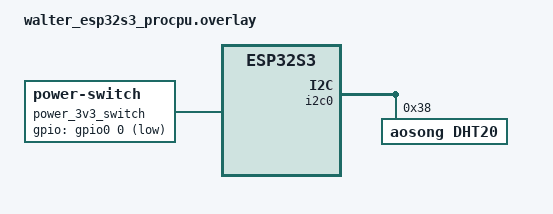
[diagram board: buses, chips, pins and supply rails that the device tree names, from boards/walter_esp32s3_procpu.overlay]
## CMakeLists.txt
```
# Copyright (c) 2024 DPTechnics bv
# SPDX-License-Identifier: Apache-2.0

cmake_minimum_required(VERSION 3.20.0)

list(APPEND BOARD_ROOT ${CMAKE_CURRENT_SOURCE_DIR})

find_package(Zephyr REQUIRED HINTS $ENV{ZEPHYR_BASE})

project(walter_golioth_demo)

target_sources(app PRIVATE src/main.c)
target_sources(app PRIVATE src/sensor_dht20.c)
```

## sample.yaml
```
# Copyright (c) 2024 DPTechnics bv
# SPDX-License-Identifier: Apache-2.0

sample:
  description: Walter Golioth Demo
  name: walter_golioth_demo
common:
  harness: net
  platform_allow:
    - walter/esp32s3/procpu
  tags: golioth
```

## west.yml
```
# Copyright (c) 2024 DPTechnics bv
# SPDX-License-Identifier: Apache-2.0

manifest:
  version: 0.8

  projects:
    - name: golioth
      path: modules/lib/golioth-firmware-sdk
      revision: v0.15.0 
      url: https://github.com/golioth/golioth-firmware-sdk.git
      west-commands: scripts/west-commands.yml
      submodules: true
      import:
        file: west-zephyr.yml
        path-prefix: deps
        name-allowlist:
          - zephyr
          - hal_espressif
          - mbedtls
          - zcbor
  
  self:
    path: app
```

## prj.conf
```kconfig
# Copyright (c) 2024 DPTechnics bv
# SPDX-License-Identifier: Apache-2.0

# Enable Golioth Firmware SDK
CONFIG_GOLIOTH_FIRMWARE_SDK=y

# Golioth services used in this app
CONFIG_GOLIOTH_LIGHTDB_STATE=y
CONFIG_GOLIOTH_STREAM=y
CONFIG_LOG_BACKEND_GOLIOTH=y

# Enable common sample library
CONFIG_GOLIOTH_SAMPLE_COMMON=y

# Hardcoded credentials for development
CONFIG_GOLIOTH_SAMPLE_HARDCODED_CREDENTIALS=y
CONFIG_GOLIOTH_SAMPLE_PSK_ID="PSK_ID"
CONFIG_GOLIOTH_SAMPLE_PSK="PSK"

# Configure Golioth SDK dependencies
CONFIG_ZVFS_EVENTFD_MAX=14
CONFIG_ZVFS_OPEN_MAX=16
CONFIG_LOG_PROCESS_THREAD_STACK_SIZE=1536
CONFIG_MBEDTLS_ENABLE_HEAP=y
CONFIG_MBEDTLS_HEAP_SIZE=10240
CONFIG_MBEDTLS_SSL_MAX_CONTENT_LEN=2048
CONFIG_NET_SOCKETS_DTLS_MAX_FRAGMENT_LENGTH=2048

# Application
CONFIG_MAIN_STACK_SIZE=2048
CONFIG_SYSTEM_WORKQUEUE_STACK_SIZE=2048
CONFIG_NET_LOG=y
CONFIG_NET_SHELL=y

# Misc.
CONFIG_GPIO=y
CONFIG_I2C=y
CONFIG_SENSOR=y
```

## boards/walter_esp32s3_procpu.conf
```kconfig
# Networking
CONFIG_NETWORKING=y
CONFIG_NET_NATIVE=y
CONFIG_NET_L2_PPP=y
CONFIG_NET_IPV4=y
CONFIG_NET_UDP=y
CONFIG_NET_SOCKETS=y
CONFIG_NET_CONTEXT_RCVTIMEO=y

# Modem driver
CONFIG_MODEM=y
CONFIG_MODEM_CELLULAR=y
CONFIG_MODEM_CELLULAR_CMUX_MAX_FRAME_SIZE=160
CONFIG_MODEM_CELLULAR_APN=""
```

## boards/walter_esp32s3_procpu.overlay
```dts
/*
 * Copyright (c) 2024 DPTechnics bv
 *
 * SPDX-License-Identifier: Apache-2.0
 */

/ {
	power_3v3_switch: power_3v3_switch {
		compatible = "power-switch";
		gpios = <&gpio0 0 GPIO_ACTIVE_LOW>;
	};
};

&i2c0 {
    status = "okay";
	dht20: dht20@38 {
		compatible = "aosong,dht20";
		reg = <0x38>;
	};
};
```

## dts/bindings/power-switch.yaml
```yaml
description: GPIO pin to switch a DC power output on or off

compatible: "power-switch"

properties:
  gpios:
    type: phandle-array
    required: true
    description: |
      The GPIO pin connected to the gate of the MOSFET.
```

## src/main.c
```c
/*
 * Copyright (c) 2024 DPTechnics bv
 *
 * SPDX-License-Identifier: Apache-2.0
 */

#include <zephyr/logging/log.h>
LOG_MODULE_REGISTER(walter_golioth_demo, LOG_LEVEL_DBG);

#include <golioth/client.h>
#include <golioth/stream.h>
#include <samples/common/net_connect.h>
#include <samples/common/sample_credentials.h>
#include <zcbor_encode.h>   
#include <zephyr/kernel.h>
#include <zephyr/drivers/gpio.h>
#include <zephyr/devicetree.h>

#include "sensor_dht20.h"

#define LOOP_DELAY_S 5

struct golioth_client *client;
static K_SEM_DEFINE(connected, 0, 1);

static const struct gpio_dt_spec power_3v3_switch =
	GPIO_DT_SPEC_GET_OR(DT_NODELABEL(power_3v3_switch), gpios, {0});

static void on_client_event(struct golioth_client *client,
			    enum golioth_client_event event,
			    void *arg)
{
	bool is_connected = (event == GOLIOTH_CLIENT_EVENT_CONNECTED);
	if (is_connected) {
		k_sem_give(&connected);
	}
	LOG_INF("Golioth client %s", is_connected ? "connected" : "disconnected");
}

static void start_golioth_client(void)
{
	/* Get the client configuration from auto-loaded settings */
	const struct golioth_client_config *client_config = golioth_sample_credentials_get();

	/* Create and start a Golioth Client */
	client = golioth_client_create(client_config);

	/* Register Golioth on_connect callback */
	golioth_client_register_event_callback(client, on_client_event, NULL);
}

static void initialize_3v3_output(void)
{
	int err;

	LOG_DBG("Enabling Walter's 3.3V DC output...");
	if (!gpio_is_ready_dt(&power_3v3_switch)) {
		LOG_ERR("The GPIO port is not ready");
		return;
	}

	err = gpio_pin_configure_dt(&power_3v3_switch, GPIO_OUTPUT_ACTIVE);
	if (err) {
		LOG_ERR("Configuring GPIO pin failed: %d", err);
		return;
	}
}

int main(void)
{
	LOG_DBG("Start Walter Golioth demo");

	/* Enable 3.3V DC output */
	initialize_3v3_output();

	/* Initialize DHT20 sensor */
	dht20_sensor_init();

	/* Initialize modem PPP mode */
	IF_ENABLED(CONFIG_GOLIOTH_SAMPLE_COMMON, (net_connect();))

	/* Start Golioth client */
	start_golioth_client();

	/* Block until connected to Golioth */
	k_sem_take(&connected, K_FOREVER);

	while (true)
	{
		int err;
		uint8_t buf[30];
		static struct dht20_sensor_measurement dht20_sm;

		/* Read the DHT20 sensor */
		LOG_DBG("Collecting DHT20 measurements...");
		err = dht20_sensor_read(&dht20_sm);
		if (err) {
			LOG_ERR("Failed to read from DHT20 sensor: %d", err);
		} else {
			dht20_log_measurements(&dht20_sm);
		}

		/* Send sensor data to Golioth */
		if (golioth_client_is_connected(client)) {
			LOG_DBG("Sending sensor data to Golioth");

			/* Create zcbor state variable for encoding */
			ZCBOR_STATE_E(zse, 1, buf, sizeof(buf), 1);

			/* Encode the CBOR map header */
			bool ok = zcbor_map_start_encode(zse, 1);
			if (!ok)
			{
				LOG_ERR("Failed to start encoding CBOR map");
			}

			/* Encode the map key "temp" into buf as a text string */
			ok = zcbor_tstr_put_lit(zse, "temp");
			if (!ok)
			{
				LOG_ERR("CBOR: Failed to encode temp name");
			}

			/* Encode the temperature value into buf as a float */
			ok = zcbor_float32_put(zse, sensor_value_to_float(&dht20_sm.temperature));
			if (!ok)
			{
				LOG_ERR("CBOR: failed to encode temp value");
			}

			/* Encode the map key "hum" into buf as a text string */
			ok = zcbor_tstr_put_lit(zse, "hum");
			if (!ok)
			{
				LOG_ERR("CBOR: Failed to encode hum name");
			}

			/* Encode the temperature value into buf as a float */
			ok = zcbor_float32_put(zse, sensor_value_to_float(&dht20_sm.humidity));
			if (!ok)
			{
				LOG_ERR("CBOR: failed to encode hum value");
			}

			/* Close the CBOR map */
			ok = zcbor_map_end_encode(zse, 1);
			if (!ok)
			{
				LOG_ERR("Failed to close CBOR map");
			}

			size_t payload_size = (intptr_t) zse->payload - (intptr_t) buf;

			err = golioth_stream_set_sync(client,
						      "sensor",
						      GOLIOTH_CONTENT_TYPE_CBOR,
						      buf,
						      payload_size,
						      3);
			if (err) {
				LOG_ERR("Failed to send sensor data to Golioth: %d", err);
			}
		} else {
			LOG_WRN("Device is not connected to Golioth, unable to send sensor data");
		}

		k_sleep(K_SECONDS(LOOP_DELAY_S));
	}

	return 0;
}
```

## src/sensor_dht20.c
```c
#include <zephyr/logging/log.h>
LOG_MODULE_REGISTER(sensor_dht20, LOG_LEVEL_DBG);

#include <zephyr/drivers/sensor.h>

#include "sensor_dht20.h"

const struct device *dht20_dev = DEVICE_DT_GET(DT_NODELABEL(dht20));

int dht20_sensor_init(void)
{
	LOG_DBG("Initializing DHT20 weather sensor");

	if (dht20_dev == NULL) {
		/* No such node, or the node does not have status "okay". */
		LOG_ERR("Device \"%s\" not found", dht20_dev->name);
		return -ENODEV;
	}

	if (!device_is_ready(dht20_dev)) {
		LOG_ERR("Device \"%s\" is not ready", dht20_dev->name);
		return -ENODEV;
	}

	return 0;
}

int dht20_sensor_read(struct dht20_sensor_measurement *measurement)
{
	int err;

	LOG_DBG("Reading DHT20 weather sensor");

	err = sensor_sample_fetch(dht20_dev);
	if (err) {
		LOG_ERR("Error fetching sensor sample: %d", err);
		return err;
	}

	sensor_channel_get(dht20_dev, SENSOR_CHAN_AMBIENT_TEMP, &measurement->temperature);
	sensor_channel_get(dht20_dev, SENSOR_CHAN_HUMIDITY, &measurement->humidity);

	return err;
}

void dht20_log_measurements(struct dht20_sensor_measurement *measurement)
{
	LOG_DBG("DHT20: Temperature=%.2f °C, Humidity=%.2f %%RH",
		sensor_value_to_double(&measurement->temperature),
		sensor_value_to_double(&measurement->humidity));
}
```

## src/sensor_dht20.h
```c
/*
 * Copyright (c) 2024 DPTechnics bv
 *
 * SPDX-License-Identifier: Apache-2.0
 */

#ifndef __SENSOR_DHT20_H__
#define __SENSOR_DHT20_H__

#include <zephyr/drivers/sensor.h>

struct dht20_sensor_measurement {
	struct sensor_value temperature;
	struct sensor_value humidity;
};

int dht20_sensor_init(void);
int dht20_sensor_read(struct dht20_sensor_measurement *measurement);
void dht20_log_measurements(struct dht20_sensor_measurement *measurement);

#endif
```
